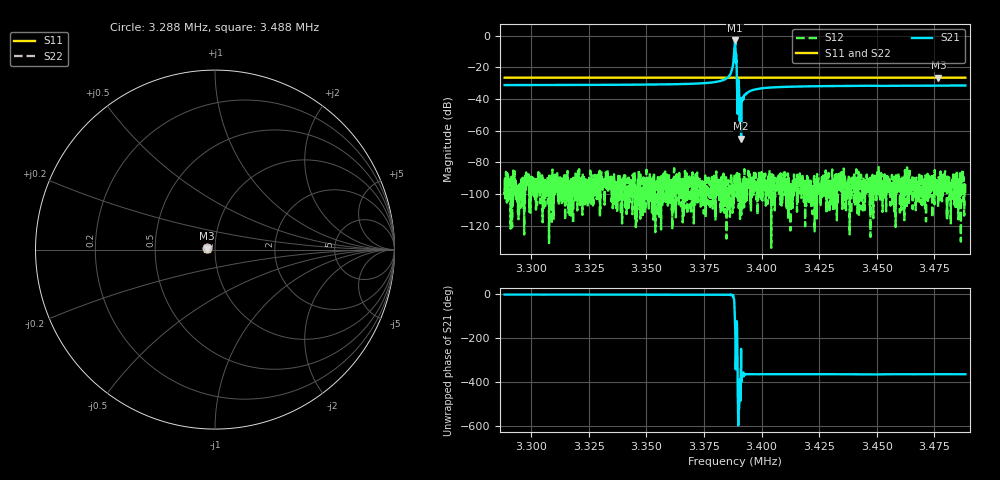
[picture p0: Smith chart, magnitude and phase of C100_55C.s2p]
# Hz S dB R 50.000
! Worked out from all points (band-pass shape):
!   6401 points, 3.288 MHz to 3.488 MHz, reference 50 ohm
!   highest |S21| = -2.94 dB at 3.388 MHz (marker M1); lowest = -65.0 dB at 3.391 MHz (marker M2)
!   |S21| within 3 dB of the highest: 3.388273 MHz to 3.388624 MHz (350.7 Hz wide, 0.0103 % of centre)
!   lowest |S11| = -26.5 dB at 3.477 MHz (marker M3), VSWR 1.10, Z = 45.5 + j0.453 ohm
!   |S11| at or under -10 dB: start of sweep to end of sweep
!   |S22| runs from -26.4 to -26.4 dB; largest |S21 - S12| = 0.71
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3288438  -26.46 172.3  -31.17 -4.3  -96.10 76.7  -26.37 166.8
3321782  -26.46 172.5  -31.04 -4.4  -98.16 73.9  -26.38 167.1
3355126  -26.46 172.9  -30.74 -4.5  -99.61 -154.4  -26.39 167.5
3374407  -26.47 173.0  -29.97 -4.6  -94.90 -100.0  -26.40 167.7
3382688  -26.47 173.1  -28.26 -4.8  -92.33 5.6  -26.40 167.7
3386032  -26.47 173.1  -25.11 -5.2  -100.66 42.7  -26.40 167.8
3386876  -26.47 173.1  -22.73 -5.2  -87.16 72.6  -26.40 167.8
3387500  -26.47 173.2  -19.19 -13.2  -94.25 50.4  -26.40 167.8
3387938  -26.47 173.1  -12.50 -20.8  -95.98 -70.7  -26.40 167.8
3388438  -26.46 173.2  -2.94 -117.0  -90.15 -34.7  -26.37 167.7
3389219  -26.47 173.2  -25.09 -125.0  -87.06 -0.4  -26.40 167.8
3389563  -26.46 173.1  -49.38 20.4  -89.03 13.4  -26.40 167.8
3390219  -26.47 173.2  -34.82 -156.5  -90.89 102.5  -26.40 167.8
3391094  -26.47 173.1  -64.98 109.9  -100.95 -4.8  -26.40 167.8
3391407  -26.46 173.2  -41.20 -21.7  -93.74 -78.5  -26.40 167.8
3392250  -26.47 173.2  -38.46 -11.8  -102.18 102.3  -26.40 167.8
3393219  -26.47 173.2  -36.64 -3.7  -100.37 -43.7  -26.40 167.8
3396844  -26.47 173.2  -34.01 -4.9  -90.74 64.4  -26.40 167.8
3421782  -26.47 173.5  -31.91 -4.7  -96.19 -21.9  -26.41 168.1
3455126  -26.48 173.8  -31.63 -4.9  -90.44 -28.9  -26.42 168.4
3476719  -26.49 174.0  -31.50 -4.8  -93.14 34.3  -26.43 168.6
3488438  -26.48 174.0  -31.42 -4.9  -91.49 -46.7  -26.43 168.8
